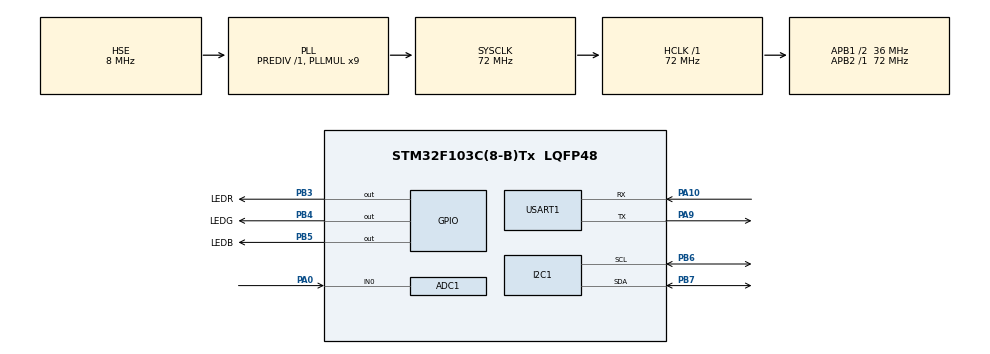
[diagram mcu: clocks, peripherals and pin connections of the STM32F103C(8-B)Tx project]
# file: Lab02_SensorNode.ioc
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ADC1.Channel-0\#ChannelRegularConversion=ADC_CHANNEL_0
ADC1.NbrOfConversion=1
ADC1.NbrOfConversionFlag=1
ADC1.Rank-0\#ChannelRegularConversion=1
ADC1.SamplingTime-0\#ChannelRegularConversion=ADC_SAMPLETIME_1CYCLE_5
ADC1.master=1
Mcu.Family=STM32F1
Mcu.Name=STM32F103C(8-B)Tx
Mcu.Package=LQFP48
NVIC.ADC1_2_IRQn=true\:0\:0\:false\:false\:true\:true\:true\:true
NVIC.I2C1_ER_IRQn=true\:0\:0\:false\:false\:true\:true\:true\:true
NVIC.I2C1_EV_IRQn=true\:0\:0\:false\:false\:true\:true\:true\:true
NVIC.PriorityGroup=NVIC_PRIORITYGROUP_4
NVIC.USART1_IRQn=true\:0\:0\:false\:false\:true\:true\:true\:true
PA0-WKUP.Signal=ADCx_IN0
PA10.Mode=Asynchronous
PA10.Signal=USART1_RX
PA13.Mode=Serial_Wire
PA13.Signal=SYS_JTMS-SWDIO
PA14.Mode=Serial_Wire
PA14.Signal=SYS_JTCK-SWCLK
PA9.Mode=Asynchronous
PA9.Signal=USART1_TX
PB3.GPIO_Label=LEDR
PB3.Signal=GPIO_Output
PB4.GPIO_Label=LEDG
PB4.Signal=GPIO_Output
PB5.GPIO_Label=LEDB
PB5.Signal=GPIO_Output
PB6.Mode=I2C
PB6.Signal=I2C1_SCL
PB7.Mode=I2C
PB7.Signal=I2C1_SDA
PD0-OSC_IN.Mode=HSE-External-Oscillator
PD0-OSC_IN.Signal=RCC_OSC_IN
PD1-OSC_OUT.Mode=HSE-External-Oscillator
PD1-OSC_OUT.Signal=RCC_OSC_OUT
ProjectManager.HeapSize=0x200
ProjectManager.StackSize=0x400
ProjectManager.TargetToolchain=MDK-ARM V5.32
RCC.ADCPresc=RCC_ADCPCLK2_DIV6
RCC.AHBFreq_Value=72000000
RCC.APB1CLKDivider=RCC_HCLK_DIV2
RCC.APB1Freq_Value=36000000
RCC.APB1TimFreq_Value=72000000
RCC.APB2Freq_Value=72000000
RCC.APB2TimFreq_Value=72000000
RCC.HCLKFreq_Value=72000000
RCC.PLLMUL=RCC_PLL_MUL9
RCC.PLLSourceVirtual=RCC_PLLSOURCE_HSE
RCC.SYSCLKFreq_VALUE=72000000
RCC.SYSCLKSource=RCC_SYSCLKSOURCE_PLLCLK
RCC.USBFreq_Value=72000000
SH.ADCx_IN0.0=ADC1_IN0,IN0
USART1.VirtualMode=VM_ASYNC
board=custom

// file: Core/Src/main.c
/* USER CODE BEGIN Header */
/**
  ******************************************************************************
  * @file           : main.c
  * @brief          : Main program body
  ******************************************************************************
  * @attention
  *
  * Copyright (c) 2024 STMicroelectronics.
  * All rights reserved.
  *
  * This software is licensed under terms that can be found in the LICENSE file
  * in the root directory of this software component.
  * If no LICENSE file comes with this software, it is provided AS-IS.
  *
  ******************************************************************************
  */
/* USER CODE END Header */
#include "main.h"

ADC_HandleTypeDef hadc1;

I2C_HandleTypeDef hi2c1;

UART_HandleTypeDef huart1;

void SystemClock_Config(void);
static void MX_GPIO_Init(void);
static void MX_ADC1_Init(void);
static void MX_I2C1_Init(void);
static void MX_USART1_UART_Init(void);

/* USER CODE BEGIN 0 */
void print(uint32_t num) {
	uint8_t temp [] = {"00000000\r\n"};
	uint8_t i = 7;
	while (num != 0) {
		temp[i] = (num % 10) + 48;
		num = num / 10;
		i--;
	}
	temp[i] = (num % 10) + 48;

	HAL_UART_Transmit(&huart1, &temp[0], 8, 100);
}

#define INA219_BUS_VOLTAGE_REG 0x02
#define INA219_I2C_ADDRESS 0x40
#define INA219_CURRENT_REG 0x04
#define INA219_CALIBRATION_REG 0x05

uint32_t readv(void) {
    uint8_t buffer[2];
    uint32_t rawBusVoltage;
    if (HAL_I2C_Mem_Read(&hi2c1, (INA219_I2C_ADDRESS << 1), INA219_BUS_VOLTAGE_REG, 1, buffer, 2, HAL_MAX_DELAY) == HAL_OK) {
        rawBusVoltage = (buffer[0] << 8) | buffer[1];
        rawBusVoltage = rawBusVoltage >> 3;

        uint32_t busVoltage_mV = rawBusVoltage * 4;

        uint8_t ms[] = "\r\nBusVoltage: ";
        HAL_UART_Transmit(&huart1, ms, sizeof(ms), 100);
        return busVoltage_mV;
    }
    else {
        uint32_t a = 123456;
        return a;
    }
}
void INA219_SetCalibration(void) {
    uint16_t calibration_value = 13421;
    uint8_t calib_data[2] = {calibration_value >> 8, calibration_value & 0xFF};
    HAL_I2C_Mem_Write(&hi2c1, (INA219_I2C_ADDRESS << 1), INA219_CALIBRATION_REG, 1, calib_data, 2, HAL_MAX_DELAY);
}

uint32_t readCurrent(void) {
    uint8_t buffer[2];
    uint16_t rawCurrent;
    if (HAL_I2C_Mem_Read(&hi2c1, (INA219_I2C_ADDRESS << 1), INA219_CURRENT_REG, 1, buffer, 2, HAL_MAX_DELAY) == HAL_OK) {
        rawCurrent = (buffer[0] << 8) | buffer[1];
        uint32_t current_mA = rawCurrent;
        uint8_t ms[] = "\r\nCurrent: ";
        HAL_UART_Transmit(&huart1, ms, sizeof(ms), 100);
        return current_mA;
    } else {
        return 0xFFFFFFFF;
    }
}

/* USER CODE END 0 */

int main(void)
{

  /* MCU Configuration--------------------------------------------------------*/

  /* Reset of all peripherals, Initializes the Flash interface and the Systick. */
  HAL_Init();

  /* Configure the system clock */
  SystemClock_Config();

  /* Initialize all configured peripherals */
  MX_GPIO_Init();
  MX_ADC1_Init();
  MX_I2C1_Init();
  MX_USART1_UART_Init();
  /* USER CODE BEGIN 2 */
//  while(!INA219_Init(&ina219, &hi2c1, INA219_ADDRESS))
//  {
//
//  }

  /* USER CODE END 2 */

  /* Infinite loop */
  /* USER CODE BEGIN WHILE */

  //uint8_t data[] = {0x01, 0x02, 0x03};
  //uint32_t ADC_VAL = 123;
  //send(ADC_VAL);
  //print(ADC_VAL);

//  __HAL_RCC_I2C1_CLK_DISABLE();
//  __HAL_RCC_I2C1_FORCE_RESET();
//  __HAL_RCC_I2C1_RELEASE_RESET();
//  __HAL_RCC_I2C1_CLK_ENABLE();
//  HAL_TIM_PWM_Start(&htim1, TIM_CHANNEL_1);
//  HAL_TIM_PWM_Start(&htim1, TIM_CHANNEL_4);
//
//  HAL_GPIO_WritePin(GPIOB, GPIO_PIN_14, GPIO_PIN_SET);
//  HAL_GPIO_WritePin(GPIOB, GPIO_PIN_15, GPIO_PIN_SET);
//
//
//  __HAL_TIM_SET_COMPARE(&htim1, TIM_CHANNEL_4, 0);
  while (1)
  {
//	    HAL_ADC_Start(&hadc1);
//	    HAL_ADC_PollForConversion(&hadc1, 100);
//	    ADC_VAL = HAL_ADC_GetValue(&hadc1);
//	    HAL_ADC_Stop(&hadc1);
//	    ADC_VAL *= 0.12207;
//	    print(ADC_VAL);
	  uint32_t a = readv();
	  print(a);
	  uint32_t current = readCurrent();
	  print(current);
	  HAL_Delay(400);

    /* USER CODE END WHILE */

  }
}

void SystemClock_Config(void)
{
  RCC_OscInitTypeDef RCC_OscInitStruct = {0};
  RCC_ClkInitTypeDef RCC_ClkInitStruct = {0};
  RCC_PeriphCLKInitTypeDef PeriphClkInit = {0};

  /** Initializes the RCC Oscillators according to the specified parameters
  * in the RCC_OscInitTypeDef structure.
  */
  RCC_OscInitStruct.OscillatorType = RCC_OSCILLATORTYPE_HSE;
  RCC_OscInitStruct.HSEState = RCC_HSE_ON;
  RCC_OscInitStruct.HSEPredivValue = RCC_HSE_PREDIV_DIV1;
  RCC_OscInitStruct.HSIState = RCC_HSI_ON;
  RCC_OscInitStruct.PLL.PLLState = RCC_PLL_ON;
  RCC_OscInitStruct.PLL.PLLSource = RCC_PLLSOURCE_HSE;
  RCC_OscInitStruct.PLL.PLLMUL = RCC_PLL_MUL9;
  if (HAL_RCC_OscConfig(&RCC_OscInitStruct) != HAL_OK)
  {
    Error_Handler();
  }

  /** Initializes the CPU, AHB and APB buses clocks
  */
  RCC_ClkInitStruct.ClockType = RCC_CLOCKTYPE_HCLK|RCC_CLOCKTYPE_SYSCLK
                              |RCC_CLOCKTYPE_PCLK1|RCC_CLOCKTYPE_PCLK2;
  RCC_ClkInitStruct.SYSCLKSource = RCC_SYSCLKSOURCE_PLLCLK;
  RCC_ClkInitStruct.AHBCLKDivider = RCC_SYSCLK_DIV1;
  RCC_ClkInitStruct.APB1CLKDivider = RCC_HCLK_DIV2;
  RCC_ClkInitStruct.APB2CLKDivider = RCC_HCLK_DIV1;

  if (HAL_RCC_ClockConfig(&RCC_ClkInitStruct, FLASH_LATENCY_2) != HAL_OK)
  {
    Error_Handler();
  }
  PeriphClkInit.PeriphClockSelection = RCC_PERIPHCLK_ADC;
  PeriphClkInit.AdcClockSelection = RCC_ADCPCLK2_DIV6;
  if (HAL_RCCEx_PeriphCLKConfig(&PeriphClkInit) != HAL_OK)
  {
    Error_Handler();
  }
}

static void MX_ADC1_Init(void)
{

  ADC_ChannelConfTypeDef sConfig = {0};

  /** Common config
  */
  hadc1.Instance = ADC1;
  hadc1.Init.ScanConvMode = ADC_SCAN_DISABLE;
  hadc1.Init.ContinuousConvMode = DISABLE;
  hadc1.Init.DiscontinuousConvMode = DISABLE;
  hadc1.Init.ExternalTrigConv = ADC_SOFTWARE_START;
  hadc1.Init.DataAlign = ADC_DATAALIGN_RIGHT;
  hadc1.Init.NbrOfConversion = 1;
  if (HAL_ADC_Init(&hadc1) != HAL_OK)
  {
    Error_Handler();
  }

  /** Configure Regular Channel
  */
  sConfig.Channel = ADC_CHANNEL_0;
  sConfig.Rank = ADC_REGULAR_RANK_1;
  sConfig.SamplingTime = ADC_SAMPLETIME_1CYCLE_5;
  if (HAL_ADC_ConfigChannel(&hadc1, &sConfig) != HAL_OK)
  {
    Error_Handler();
  }

}

static void MX_I2C1_Init(void)
{

  hi2c1.Instance = I2C1;
  hi2c1.Init.ClockSpeed = 100000;
  hi2c1.Init.DutyCycle = I2C_DUTYCYCLE_2;
  hi2c1.Init.OwnAddress1 = 0;
  hi2c1.Init.AddressingMode = I2C_ADDRESSINGMODE_7BIT;
  hi2c1.Init.DualAddressMode = I2C_DUALADDRESS_DISABLE;
  hi2c1.Init.OwnAddress2 = 0;
  hi2c1.Init.GeneralCallMode = I2C_GENERALCALL_DISABLE;
  hi2c1.Init.NoStretchMode = I2C_NOSTRETCH_DISABLE;
  if (HAL_I2C_Init(&hi2c1) != HAL_OK)
  {
    Error_Handler();
  }

}

static void MX_USART1_UART_Init(void)
{

  huart1.Instance = USART1;
  huart1.Init.BaudRate = 115200;
  huart1.Init.WordLength = UART_WORDLENGTH_8B;
  huart1.Init.StopBits = UART_STOPBITS_1;
  huart1.Init.Parity = UART_PARITY_NONE;
  huart1.Init.Mode = UART_MODE_TX_RX;
  huart1.Init.HwFlowCtl = UART_HWCONTROL_NONE;
  huart1.Init.OverSampling = UART_OVERSAMPLING_16;
  if (HAL_UART_Init(&huart1) != HAL_OK)
  {
    Error_Handler();
  }

}

static void MX_GPIO_Init(void)
{
  GPIO_InitTypeDef GPIO_InitStruct = {0};

  /* GPIO Ports Clock Enable */
  __HAL_RCC_GPIOD_CLK_ENABLE();
  __HAL_RCC_GPIOA_CLK_ENABLE();
  __HAL_RCC_GPIOB_CLK_ENABLE();

  /*Configure GPIO pin Output Level */
  HAL_GPIO_WritePin(GPIOB, LEDR_Pin|LEDG_Pin|LEDB_Pin, GPIO_PIN_RESET);

  /*Configure GPIO pins : LEDR_Pin LEDG_Pin LEDB_Pin */
  GPIO_InitStruct.Pin = LEDR_Pin|LEDG_Pin|LEDB_Pin;
  GPIO_InitStruct.Mode = GPIO_MODE_OUTPUT_PP;
  GPIO_InitStruct.Pull = GPIO_NOPULL;
  GPIO_InitStruct.Speed = GPIO_SPEED_FREQ_LOW;
  HAL_GPIO_Init(GPIOB, &GPIO_InitStruct);

}

void Error_Handler(void)
{
  __disable_irq();
  while (1)
  {
  }
}
